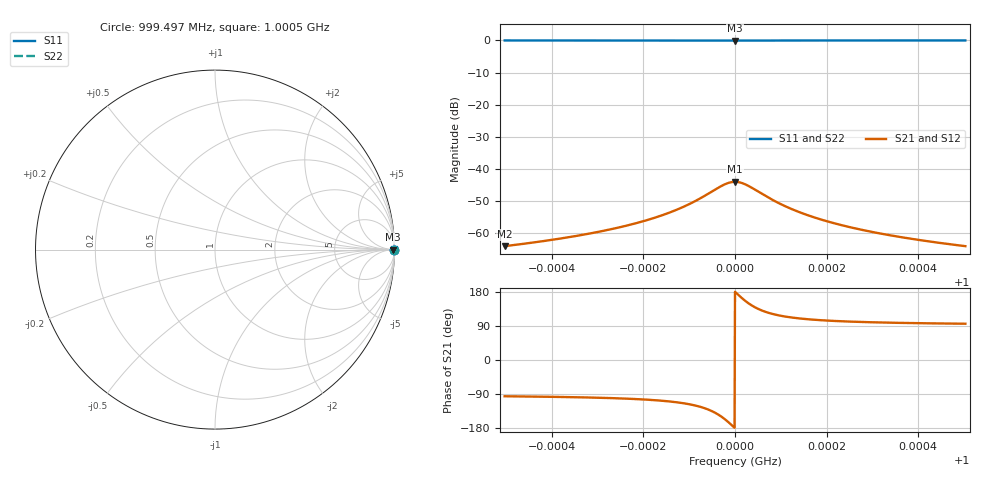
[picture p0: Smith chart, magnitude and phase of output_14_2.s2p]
! File generated for n1 = 14, n2 = 2
! b1 = 0.004642
! b2 = 0.002154
! Q0 = 10000.000000
! f0 = 1000000000.000000
! n = 1001
! rel_span = 10.000000
# Hz S RI R 50
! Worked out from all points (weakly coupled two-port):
!   1001 points, 999.497 MHz to 1.0005 GHz, reference 50 ohm
!   highest |S21| = -44.04 dB at 1 GHz (marker M1); lowest = -64.1 dB at 999.497 MHz (marker M2)
!   lowest |S11| = -0.1 dB at 1 GHz (marker M3), VSWR 215.91, Z = 1.08e+04 + j0 ohm
!   |S11| at or under -10 dB: nowhere
!   |S22| runs from 0.0 to 0.0 dB; largest |S21 - S12| = 0
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9.994966e8  0.9999 -0.000913  -6.22e-05 -0.000622  -6.22e-05 -0.000622  1 -0.000424
9.995832e8  0.9999 -0.0011  -9.03e-05 -0.000748  -9.03e-05 -0.000748  0.9999 -0.000509
9.996647e8  0.9998 -0.00135  -0.000138 -0.000922  -0.000138 -0.000922  0.9999 -0.000628
9.997574e8  0.9996 -0.00183  -0.000259 -0.00125  -0.000259 -0.00125  0.9998 -0.000851
9.997966e8  0.9995 -0.00215  -0.000363 -0.00147  -0.000363 -0.00147  0.9998 -0.000998
9.998329e8  0.9992 -0.00255  -0.000522 -0.00173  -0.000522 -0.00173  0.9996 -0.00118
9.998681e8  0.9988 -0.00307  -0.000799 -0.00209  -0.000799 -0.00209  0.9995 -0.00143
9.998993e8  0.9982 -0.00369  -0.00126 -0.00251  -0.00126 -0.00251  0.9991 -0.00171
9.999235e8  0.9972 -0.00423  -0.0019 -0.00288  -0.0019 -0.00288  0.9987 -0.00197
9.999768e8  0.9924 -0.0035  -0.00518 -0.00239  -0.00518 -0.00239  0.9965 -0.00162
9.999889e8  0.9912 -0.00193  -0.00599 -0.00132  -0.00599 -0.00132  0.9959 -0.000898
1e9  0.9908 0  -0.00628 0  -0.00628 0  0.9957 0
1.000011e9  0.9912 0.00193  -0.00599 0.00132  -0.00599 0.00132  0.9959 0.000898
1.000023e9  0.9924 0.0035  -0.00518 0.00238  -0.00518 0.00238  0.9965 0.00162
1.000077e9  0.9972 0.00423  -0.0019 0.00288  -0.0019 0.00288  0.9987 0.00197
1.000101e9  0.9982 0.00369  -0.00126 0.00251  -0.00126 0.00251  0.9991 0.00171
1.000133e9  0.9988 0.00305  -0.000788 0.00208  -0.000788 0.00208  0.9995 0.00142
1.000168e9  0.9992 0.00253  -0.000517 0.00173  -0.000517 0.00173  0.9996 0.00118
1.000244e9  0.9996 0.00183  -0.000257 0.00124  -0.000257 0.00124  0.9998 0.000848
1.000336e9  0.9998 0.00135  -0.000138 0.00092  -0.000138 0.00092  0.9999 0.000627
1.000418e9  0.9999 0.0011  -8.99e-05 0.000746  -8.99e-05 0.000746  0.9999 0.000508
1.000503e9  0.9999 0.000913  -6.22e-05 0.000622  -6.22e-05 0.000622  1 0.000424
